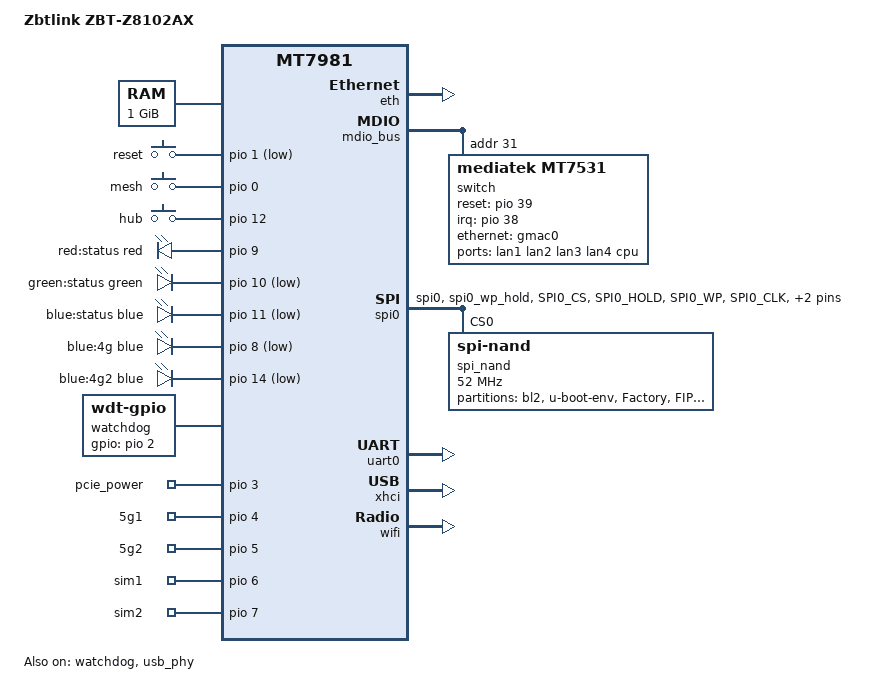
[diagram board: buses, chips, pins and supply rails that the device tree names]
// SPDX-License-Identifier: GPL-2.0-or-later OR MIT

/dts-v1/;

#include "mt7981.dtsi"

/ {
	model = "Zbtlink ZBT-Z8102AX";
	compatible = "zbtlink,zbt-z8102ax", "mediatek,mt7981";

	aliases {
		serial0 = &uart0;
		led-boot = &led_status_green;
		led-failsafe = &led_status_red;
		led-running = &led_status_green;
		led-upgrade = &led_status_green;
		label-mac-device = &gmac0;
	};

	chosen {
		stdout-path = "serial0:115200n8";
		bootargs = "earlycon=uart8250,mmio32,0x11002000 console=ttyS0,115200n8 loglevel=8";
	};

	memory {
		reg = <0 0x40000000 0 0x40000000>;
	};

	gpio-keys {
		compatible = "gpio-keys";

		button-reset {
			label = "reset";
			linux,code = <KEY_RESTART>;
			gpios = <&pio 1 GPIO_ACTIVE_LOW>;
		};

		button-mesh {
			label = "mesh";
			linux,code = <BTN_0>;
			gpios = <&pio 0 GPIO_ACTIVE_HIGH>;
		};

		button-hub {
			label = "hub";
			linux,code = <BTN_1>;
			gpios = <&pio 12 GPIO_ACTIVE_HIGH>;
		};
	};

	leds {
		compatible = "gpio-leds";

		led_status_red: red {
			label = "red:status";
			gpios = <&pio 9 GPIO_ACTIVE_HIGH>;
			color = <LED_COLOR_ID_RED>;
			function = LED_FUNCTION_STATUS;
		};

		led_status_green: green {
			label = "green:status";
			gpios = <&pio 10 GPIO_ACTIVE_LOW>;
			color = <LED_COLOR_ID_GREEN>;
			function = LED_FUNCTION_STATUS;
		};

		blue {
			label = "blue:status";
			gpios = <&pio 11 GPIO_ACTIVE_LOW>;
			color = <LED_COLOR_ID_BLUE>;
			function = LED_FUNCTION_STATUS;
		};

		4g {
			label = "blue:4g";
			gpios = <&pio 8 GPIO_ACTIVE_LOW>;
			color = <LED_COLOR_ID_BLUE>;
			function = LED_FUNCTION_USB;
			function-enumerator = <0>;
		};

		4g2 {
			label = "blue:4g2";
			gpios = <&pio 14 GPIO_ACTIVE_LOW>;
			color = <LED_COLOR_ID_BLUE>;
			function = LED_FUNCTION_USB;
			function-enumerator = <1>;
		};
	};

	watchdog {
		compatible = "linux,wdt-gpio";
		gpios = <&pio 2 GPIO_ACTIVE_HIGH>;
		hw_algo = "toggle";
		hw_margin_ms = <1000>;
	};

	gpio-export {
		compatible = "gpio-export";
		#size-cells = <0>;

		pcie {
			gpio-export,name = "pcie_power";
			gpio-export,output = <1>;
			gpios = <&pio 3 GPIO_ACTIVE_HIGH>;
		};

		5g1 {
			gpio-export,name = "5g1";
			gpio-export,output = <1>;
			gpios = <&pio 4 GPIO_ACTIVE_HIGH>;
		};

		5g2 {
			gpio-export,name = "5g2";
			gpio-export,output = <1>;
			gpios = <&pio 5 GPIO_ACTIVE_HIGH>;
		};

		sim1 {
			gpio-export,name = "sim1";
			gpio-export,output = <1>;
			gpios = <&pio 6 GPIO_ACTIVE_HIGH>;
		};

		sim2 {
			gpio-export,name = "sim2";
			gpio-export,output = <1>;
			gpios = <&pio 7 GPIO_ACTIVE_HIGH>;
		};
	};
};

&eth {
	status = "okay";

	gmac0: mac@0 {
		/* LAN */
		compatible = "mediatek,eth-mac";
		reg = <0>;
		phy-mode = "2500base-x";

		nvmem-cell-names = "mac-address";
		nvmem-cells = <&macaddr_factory_4 2>;

		fixed-link {
			speed = <2500>;
			full-duplex;
			pause;
		};
	};

	gmac1: mac@1 {
		/* WAN */
		compatible = "mediatek,eth-mac";
		reg = <1>;
		phy-mode = "gmii";
		phy-handle = <&int_gbe_phy>;

		nvmem-cell-names = "mac-address";
		nvmem-cells = <&macaddr_factory_4 3>;
	};
};

&mdio_bus {
	switch: switch@1f {
		compatible = "mediatek,mt7531";
		reg = <0x1f>;
		reset-gpios = <&pio 39 GPIO_ACTIVE_HIGH>;
		interrupt-controller;
		#interrupt-cells = <1>;
		interrupt-parent = <&pio>;
		interrupts = <38 IRQ_TYPE_LEVEL_HIGH>;
	};
};

&spi0 {
	pinctrl-names = "default";
	pinctrl-0 = <&spi0_flash_pins>;
	status = "okay";

	spi_nand@0 {
		compatible = "spi-nand";
		#address-cells = <1>;
		#size-cells = <1>;
		reg = <0>;

		spi-max-frequency = <52000000>;
		spi-tx-bus-width = <4>;
		spi-rx-bus-width = <4>;

		mediatek,nmbm;
		mediatek,bmt-max-ratio = <1>;
		mediatek,bmt-max-reserved-blocks = <64>;

		partitions {
			compatible = "fixed-partitions";
			#address-cells = <1>;
			#size-cells = <1>;

			partition@0 {
				label = "bl2";
				reg = <0x0000000 0x0100000>;
				read-only;
			};

			partition@100000 {
				label = "u-boot-env";
				reg = <0x100000 0x80000>;
			};

			partition@180000 {
				label = "Factory";
				reg = <0x180000 0x200000>;
				read-only;

				nvmem-layout {
					compatible = "fixed-layout";
					#address-cells = <1>;
					#size-cells = <1>;

					eeprom_factory: eeprom@0 {
						reg = <0x0 0x1000>;
					};

					macaddr_factory_4: macaddr@4 {
						compatible = "mac-base";
						reg = <0x4 0x6>;
						#nvmem-cell-cells = <1>;
					};
				};
			};

			partition@380000 {
				label = "FIP";
				reg = <0x380000 0x200000>;
				read-only;
			};

			partition@580000 {
				label = "ubi";
				reg = <0x580000 0x4000000>;
			};
		};
	};
};

&switch {
	ports {
		#address-cells = <1>;
		#size-cells = <0>;

		port@0 {
			reg = <0>;
			label = "lan1";
		};

		port@1 {
			reg = <1>;
			label = "lan2";
		};

		port@2 {
			reg = <2>;
			label = "lan3";
		};

		port@3 {
			reg = <3>;
			label = "lan4";
		};

		port@6 {
			reg = <6>;
			label = "cpu";
			ethernet = <&gmac0>;
			phy-mode = "2500base-x";

			fixed-link {
				speed = <2500>;
				full-duplex;
				pause;
			};
		};
	};
};

&pio {
	spi0_flash_pins: spi0-pins {
		mux {
			function = "spi";
			groups = "spi0", "spi0_wp_hold";
		};

		conf-pu {
			pins = "SPI0_CS", "SPI0_HOLD", "SPI0_WP";
			drive-strength = <8>;
			bias-pull-up = <103>;
		};

		conf-pd {
			pins = "SPI0_CLK", "SPI0_MOSI", "SPI0_MISO";
			drive-strength = <8>;
			bias-pull-down = <103>;
		};
	};
};

&uart0 {
	status = "okay";
};

&watchdog {
	status = "okay";
};

&usb_phy {
	status = "okay";
};

&xhci {
	status = "okay";
};

&wifi {
	status = "okay";

	nvmem-cells = <&eeprom_factory>;
	nvmem-cell-names = "eeprom";
};
